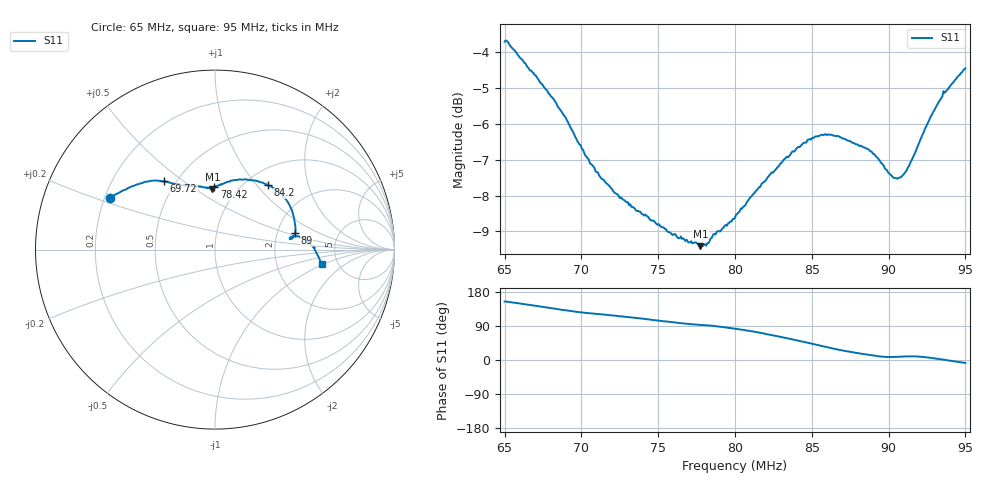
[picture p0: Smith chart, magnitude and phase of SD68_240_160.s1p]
! NanoVNA-App
! Date: 2025-08-09 13:47:40
! Start: 65MHz Stop: 95MHz Points: 401
! S-Parameter data: F S11
# Hz S RI R 50
!  Frequency  S11_Real  S11_Imag
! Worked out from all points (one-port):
!   401 points, 65 MHz to 95 MHz, reference 50 ohm
!   lowest |S11| = -9.4 dB at 77.75 MHz (marker M1), VSWR 2.02, Z = 38.7 + j29.6 ohm
!   |S11| at or under -10 dB: nowhere
!   S11 on the Smith chart (normalised r, x): 65 MHz: 0.22, +0.22; 69.72 MHz: 0.43, +0.42; 78.42 MHz: 0.78, +0.61; 84.2 MHz: 1.26, +1.15; 89 MHz: 2.51, +0.58; 95 MHz: 3.73, -0.94
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6.5e7  -0.5868 0.2856
6.5225e7  -0.5829 0.2905
6.7325e7  -0.4463 0.3576
6.875e7  -0.3493 0.3841
6.9725e7  -0.2846 0.3801
7.0475e7  -0.2477 0.3723
7.25e7  -0.1671 0.3577
7.625e7  -0.05 0.3442
7.775e7  -0.0145 0.3381
7.8425e7  -0.00469 0.347
8e7  0.0491 0.3677
8.12e7  0.1041 0.3864
8.225e7  0.1671 0.3911
8.375e7  0.2673 0.3729
8.42e7  0.2964 0.3584
8.5175e7  0.361 0.3171
8.6e7  0.4027 0.2674
8.675e7  0.4284 0.2201
8.75e7  0.4408 0.1746
8.9e7  0.4457 0.0918
8.96e7  0.4353 0.0669
9.005e7  0.4231 0.0583
9.065e7  0.4166 0.0624
9.125e7  0.4293 0.0728
9.2e7  0.4665 0.0737
9.2675e7  0.5061 0.0535
9.365e7  0.5536 0.00349
9.5e7  0.5935 -0.0809
